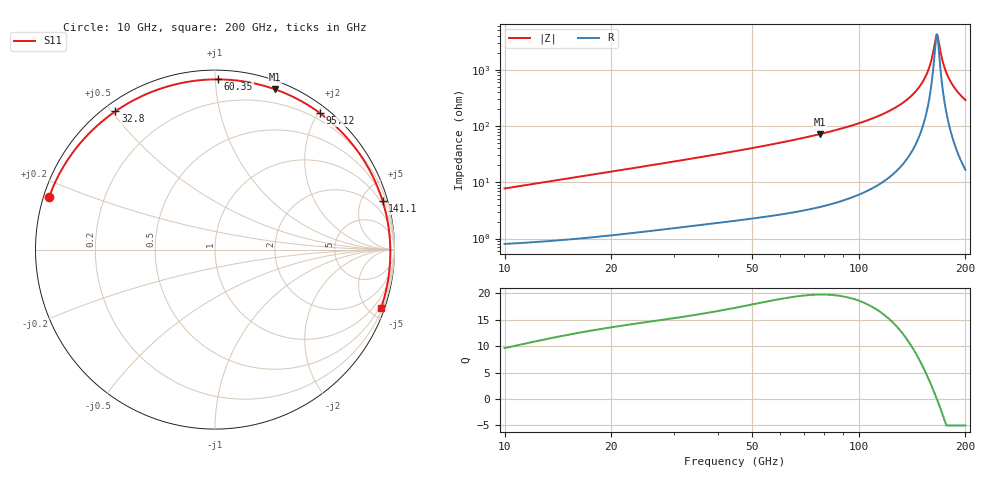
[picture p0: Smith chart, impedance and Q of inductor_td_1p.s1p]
! TOUCHSTONE file generated by CST MICROWAVE STUDIO
! Date and time: Mon Sep 14 08:19:51 2026
! Project name: inductor_td_1p.cst
! Header version: 2024
! Port assignment regex: !\s*Touchstone port\s*([0-9]+)\s*=\s*(CST MWS port|CST DES external port|CST DES block port)\s*(.+)\s* \(\"(.*)\"\)(\s*mode\s*([0-9]+))?.*
! Touchstone port assignment:
! Touchstone port 1 = CST MWS port 1 ("")
# GHz S MA R 50
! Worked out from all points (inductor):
!   1001 points, 10 GHz to 200 GHz, reference 50 ohm
!   read as one part to ground: L = 122 pH near 10.95 GHz
!   highest Q = 19.7 at 77.64 GHz (marker M1), where L = 147 pH
!   self-resonance near 166.2 GHz
!   S11 on the Smith chart (normalised r, x): 10 GHz: 0.02, +0.15; 32.8 GHz: 0.03, +0.51; 60.35 GHz: 0.05, +1.02; 95.12 GHz: 0.11, +2.03; 141.1 GHz: 0.70, +6.95; 200 GHz: 0.34, -5.81
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10  0.9691 162.4
10.95  0.9682 160.8
15.32  0.964 153.3
18.74  0.9605 147.7
21.97  0.9573 142.4
27.29  0.9529 134.1
32.8  0.9495 125.8
33.75  0.9491 124.4
39.45  0.9473 116.2
45.34  0.9466 108.1
51.23  0.9469 100.3
57.5  0.9479 92.4
60.35  0.9486 88.9
68.71  0.9509 79.2
77.64  0.9537 69.6
81.25  0.9548 65.8
88.09  0.957 59.1
95.12  0.9592 52.5
105  0.9623 43.7
110.7  0.9641 39.0
116.59  0.9658 34.2
128.75  0.9692 25.0
141.1  0.9723 16.2
152.5  0.9745 8.6
164.09  0.9764 1.3
176.25  0.9782 -6.0
187.65  0.9798 -12.6
200  0.981 -19.5
